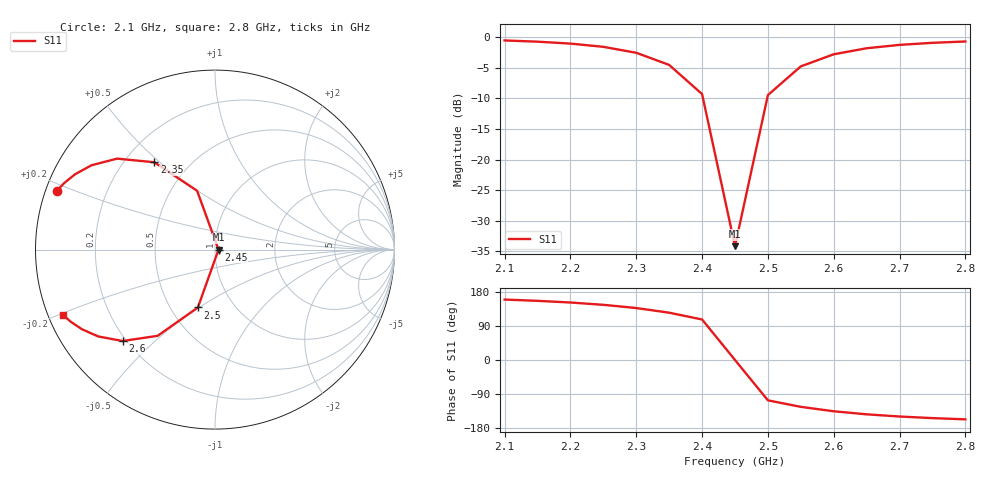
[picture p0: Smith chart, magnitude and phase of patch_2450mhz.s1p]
! 2.45 GHz Microstrip Patch Antenna Return Loss (50 Ohm)
! Strictly passive 1-port resonant RLC antenna model
[Version] 2.0
# GHz S MA R 50
[Number of Ports] 1
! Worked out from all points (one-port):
!   15 points, 2.1 GHz to 2.8 GHz, reference 50 ohm
!   lowest |S11| = -34.2 dB at 2.45 GHz (marker M1), VSWR 1.04, Z = 52 + j0 ohm
!   |S11| at or under -10 dB: 2.401 GHz to 2.499 GHz (97.52 MHz wide, 3.98 % of centre)
!   S11 on the Smith chart (normalised r, x): 2.1 GHz: 0.03, +0.18; 2.35 GHz: 0.32, +0.48; 2.45 GHz: 1.04, +0.00; 2.5 GHz: 0.68, -0.49; 2.6 GHz: 0.19, -0.40; 2.8 GHz: 0.04, -0.21
[Number of Frequencies] 15
[Network Data]
2.1  0.9391 159.5
2.15  0.9178 156.1
2.2  0.8853 151.7
2.25  0.8329 145.6
2.3  0.7448 137.1
2.35  0.5928 124.8
2.4  0.3425 106.9
2.45  0.01961 0.0
2.5  0.3363 -106.5
2.55  0.5771 -123.6
2.6  0.724 -135.3
2.65  0.8111 -143.4
2.7  0.8642 -149.1
2.75  0.8982 -153.4
2.8  0.921 -156.6
[End]
